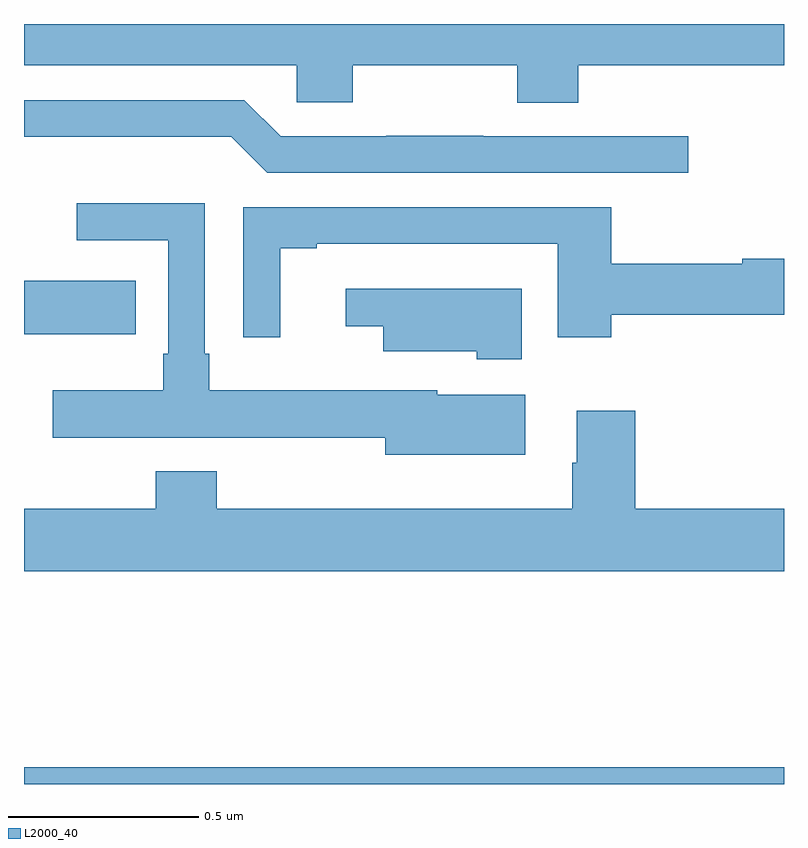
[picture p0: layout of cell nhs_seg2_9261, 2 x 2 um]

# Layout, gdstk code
import gdstk
lib = gdstk.Library(unit=1e-6, precision=1e-09)
def R(c, l, rs):  # rectangles x0, y0, x1, y1
    for r in rs: c.add(gdstk.rectangle(r[:2], r[2:], *l))
def P(c, l, *ps):  # polygons
    for p in ps: c.add(gdstk.Polygon(p, *l))
L2000_40 = (2000, 40)

nhs_seg2_9261 = lib.new_cell('nhs_seg2_9261')
R(nhs_seg2_9261, L2000_40, [(227,589.8,229,589.844), (227,590.984,227.294,591.124)])
P(nhs_seg2_9261, L2000_40, [(228.458,591.692),(229,591.692),(229,591.8),(227,591.8),(227,591.692),(227.718,591.692),(227.718,591.594),(227.865,591.594),(227.865,591.692),(228.298,591.692),(228.298,591.593),(228.458,591.593)],
  [(228.748,591.504),(228.209,591.504),(228.209,591.506),(227.953,591.506),(227.953,591.504),(227.676,591.504),(227.58,591.6),(227,591.6),(227,591.503),(227.545,591.503),(227.64,591.408),(228.748,591.408)],
  [(228.319,590.824),(228.087,590.824),(228.087,590.836),(227.488,590.836),(227.488,590.932),(227.475,590.932),(227.475,591.328),(227.139,591.328),(227.139,591.231),(227.379,591.231),(227.379,590.932),(227.367,590.932),(227.367,590.836),(227.076,590.836),(227.076,590.711),(227.951,590.711),(227.951,590.666),(228.319,590.666)],
  [(227.674,591.21),(227.77,591.21),(227.77,591.222),(228.404,591.222),(228.404,590.976),(228.545,590.976),(228.545,591.035),(229,591.035),(229,591.182),(228.89,591.182),(228.89,591.169),(228.545,591.169),(228.545,591.318),(227.577,591.318),(227.577,590.976),(227.674,590.976)],
  [(228.31,591.103),(227.847,591.103),(227.847,591.005),(227.945,591.005),(227.945,590.939),(228.192,590.939),(228.192,590.918),(228.31,590.918)],
  [(229,590.524),(228.608,590.524),(228.608,590.782),(228.455,590.782),(228.455,590.645),(228.443,590.645),(228.443,590.524),(227.507,590.524),(227.507,590.623),(227.347,590.623),(227.347,590.524),(227,590.524),(227,590.36),(229,590.36)])

lib.write_gds('nhs_seg2_9261.gds')
